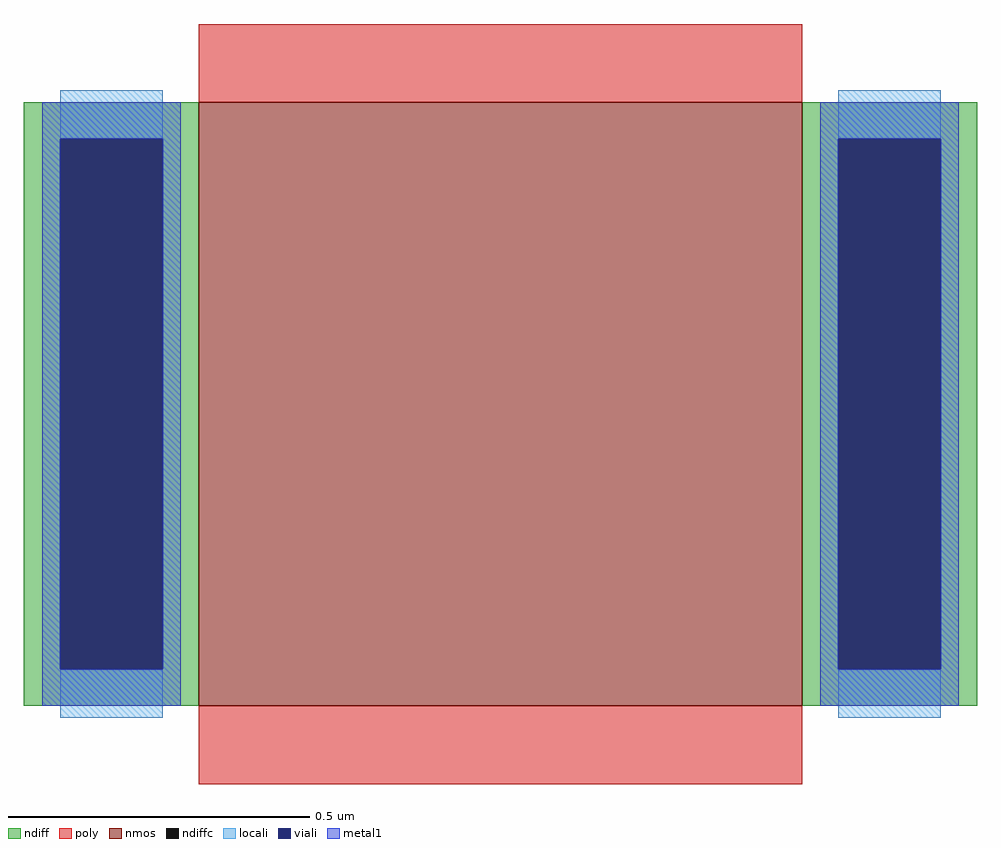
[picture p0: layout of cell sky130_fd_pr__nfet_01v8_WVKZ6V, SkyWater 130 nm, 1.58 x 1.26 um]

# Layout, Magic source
magic
tech sky130A
<< nmos >>
rect -50 -50 50 50
<< ndiff >>
rect -79 44 -50 50
rect -79 -44 -73 44
rect -56 -44 -50 44
rect -79 -50 -50 -44
rect 50 44 79 50
rect 50 -44 56 44
rect 73 -44 79 44
rect 50 -50 79 -44
<< ndiffc >>
rect -73 -44 -56 44
rect 56 -44 73 44
<< poly >>
rect -50 50 50 63
rect -50 -63 50 -50
<< locali >>
rect -73 44 -56 52
rect -73 -52 -56 -44
rect 56 44 73 52
rect 56 -52 73 -44
<< viali >>
rect -73 -44 -56 44
rect 56 -44 73 44
<< metal1 >>
rect -76 44 -53 50
rect -76 -44 -73 44
rect -56 -44 -53 44
rect -76 -50 -53 -44
rect 53 44 76 50
rect 53 -44 56 44
rect 73 -44 76 44
rect 53 -50 76 -44
<< properties >>
string gencell sky130_fd_pr__nfet_01v8
string library sky130
string parameters w 1.0 l 1.0 m 1 nf 1 diffcov 100 polycov 100 guard 0 glc 0 grc 0 gtc 0 gbc 0 tbcov 100 rlcov 100 topc 0 botc 0 poverlap 0 doverlap 1 lmin 0.15 wmin 0.42 compatible {sky130_fd_pr__nfet_01v8 sky130_fd_pr__nfet_01v8_lvt  sky130_fd_bs_flash__special_sonosfet_star  sky130_fd_pr__nfet_g5v0d10v5 sky130_fd_pr__nfet_05v0_nvt  sky130_fd_pr__nfet_03v3_nvt} full_metal 0 viasrc 100 viadrn 100 viagate 100 viagb 0 viagr 0 viagl 0 viagt 0
<< end >>
